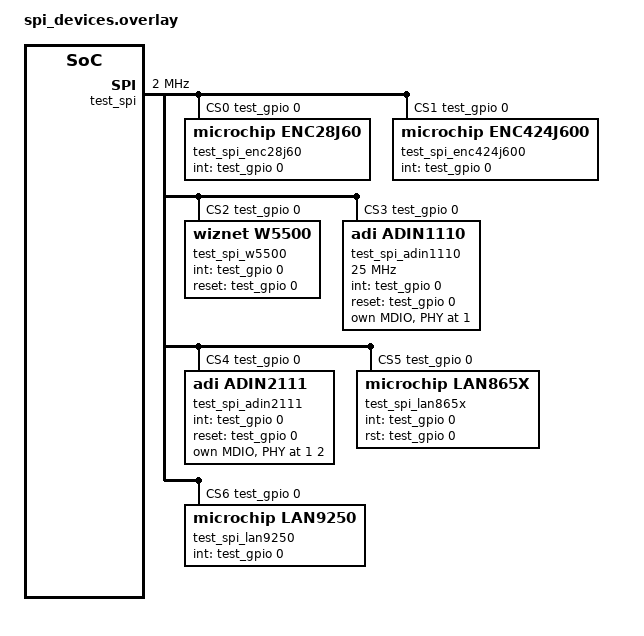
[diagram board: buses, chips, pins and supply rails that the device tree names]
/*
 * Copyright (c) 2020, Linaro Ltd.
 *
 * SPDX-License-Identifier: Apache-2.0
 *
 * Application overlay for testing driver builds
 *
 * Names in this file should be chosen in a way that won't conflict
 * with real-world devicetree nodes, to allow these tests to run on
 * (and be extended to test) real hardware.
 */

/ {
	test {
		#address-cells = <1>;
		#size-cells = <1>;

		test_gpio: gpio@deadbeef {
			compatible = "vnd,gpio";
			gpio-controller;
			reg = <0xdeadbeef 0x1000>;
			#gpio-cells = <0x2>;
			status = "okay";
		};

		test_spi: spi@33334444 {
			#address-cells = <1>;
			#size-cells = <0>;
			compatible = "vnd,spi";
			reg = <0x33334444 0x1000>;
			status = "okay";
			clock-frequency = <2000000>;

			/* one entry for every devices at spi.dtsi */
			cs-gpios = <&test_gpio 0 0>,
				   <&test_gpio 0 0>,
				   <&test_gpio 0 0>,
				   <&test_gpio 0 0>,
				   <&test_gpio 0 0>,
				   <&test_gpio 0 0>,
				   <&test_gpio 0 0>;

			test_spi_enc28j60: enc28j60@0 {
				compatible = "microchip,enc28j60";
				reg = <0x0>;
				full-duplex;
				spi-max-frequency = <0>;
				int-gpios = <&test_gpio 0 0>;
				local-mac-address = [00 00 00 00 00 00];
			};

			test_spi_enc424j600: enc424j600@1 {
				compatible = "microchip,enc424j600";
				reg = <0x1>;
				spi-max-frequency = <0>;
				int-gpios = <&test_gpio 0 0>;
				local-mac-address = [00 00 00 00 00 00];
			};

			test_spi_w5500: w5500@2 {
				compatible = "wiznet,w5500";
				reg = <0x2>;
				spi-max-frequency = <0>;
				int-gpios = <&test_gpio 0 0>;
				reset-gpios = <&test_gpio 0 0>;
			};

			test_spi_adin1110: adin1110@3 {
				compatible = "adi,adin1110";
				reg = <0x3>;
				spi-max-frequency = <25000000>;
				int-gpios = <&test_gpio 0 0>;
				reset-gpios = <&test_gpio 0 0>;

				port1 {
					local-mac-address = [CA 2F B7 10 23 63];
				};

				mdio {
					compatible = "adi,adin2111-mdio";
					status = "okay";
					#address-cells = <1>;
					#size-cells = <0>;

					ethernet-phy@1 {
						reg = <0x1>;
						compatible = "adi,adin2111-phy";
						status = "okay";
					};
				};
			};

			test_spi_adin2111: adin2111@4 {
				compatible = "adi,adin2111";
				reg = <0x4>;
				spi-max-frequency = <0>;
				int-gpios = <&test_gpio 0 0>;
				reset-gpios = <&test_gpio 0 0>;

				port1 {
					local-mac-address = [CA 2F B7 10 23 63];
				};
				port2 {
					local-mac-address = [3C 82 D4 A2 29 8E];
				};

				mdio {
					compatible = "adi,adin2111-mdio";
					status = "okay";
					#address-cells = <1>;
					#size-cells = <0>;

					ethernet-phy@1 {
						reg = <0x1>;
						compatible = "adi,adin2111-phy";
						status = "okay";
					};
					ethernet-phy@2 {
						reg = <0x2>;
						compatible = "adi,adin2111-phy";
						status = "okay";
					};
				};
			};

			test_spi_lan865x: lan865x@5 {
				compatible = "microchip,lan865x";
				reg = <0x5>;
				spi-max-frequency = <0>;
				int-gpios = <&test_gpio 0 0>;
				rst-gpios = <&test_gpio 0 0>;
				local-mac-address = [00 00 00 01 02 03];
				lan865x_mdio: lan865x_mdio {
					compatible = "microchip,lan865x-mdio";
					status = "okay";
					#address-cells = <1>;
					#size-cells = <0>;
					ethernet-phy@0 {
						compatible = "microchip,t1s-phy";
						reg = <0x0>;
						plca-enable;
						plca-node-id = <0>;
						plca-node-count = <8>;
						plca-burst-count = <0>;
						plca-burst-timer = <0x80>;
						plca-to-timer = <0x20>;
						status = "okay";
					};
				};
			};

			test_spi_lan9250: lan9250@6 {
				compatible = "microchip,lan9250";
				reg = <0x6>;
				spi-max-frequency = <0>;
				int-gpios = <&test_gpio 0 0>;
				local-mac-address = [00 00 00 00 00 00];
			};
		};
	};
};
